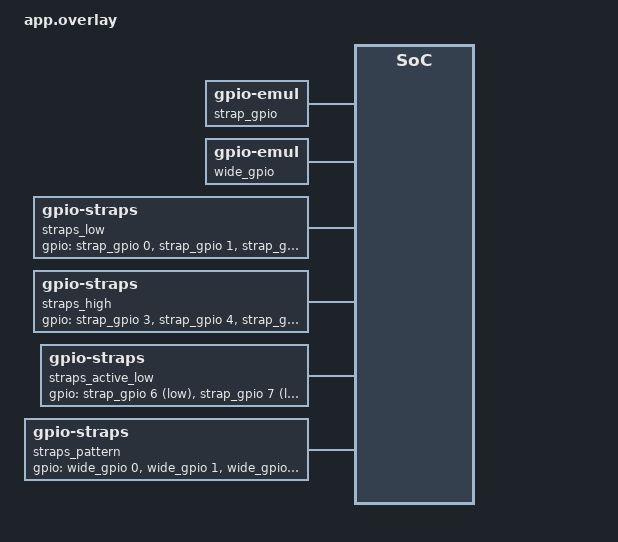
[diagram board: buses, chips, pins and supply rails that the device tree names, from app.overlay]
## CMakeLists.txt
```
# SPDX-License-Identifier: Apache-2.0

cmake_minimum_required(VERSION 3.20.0)
find_package(Zephyr REQUIRED HINTS $ENV{ZEPHYR_BASE})
project(otp_gpio_straps)

target_sources(app PRIVATE src/main.c)
```

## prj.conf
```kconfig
# SPDX-License-Identifier: Apache-2.0

CONFIG_ZTEST=y
CONFIG_GPIO=y
CONFIG_GPIO_EMUL=y
CONFIG_OTP=y
CONFIG_OTP_PROGRAM=y
CONFIG_NVMEM=y
CONFIG_OTP_LOG_LEVEL_DBG=y
```

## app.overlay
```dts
/*
 * SPDX-License-Identifier: Apache-2.0
 * SPDX-FileCopyrightText: Copyright The Zephyr Project Contributors
 */

#include <zephyr/dt-bindings/gpio/gpio.h>

/ {
	strap_gpio: strap-gpio-emul {
		compatible = "zephyr,gpio-emul";
		gpio-controller;
		#gpio-cells = <2>;
		ngpios = <32>;
		status = "okay";
	};

	wide_gpio: wide-gpio-emul {
		compatible = "zephyr,gpio-emul";
		gpio-controller;
		#gpio-cells = <2>;
		ngpios = <32>;
		status = "okay";
	};

	/* Three straps, no bias: every pin reads low. */
	straps_low: straps-low {
		compatible = "zephyr,gpio-straps";
		gpios = <&strap_gpio 0 GPIO_ACTIVE_HIGH>,
			<&strap_gpio 1 GPIO_ACTIVE_HIGH>,
			<&strap_gpio 2 GPIO_ACTIVE_HIGH>;
	};

	/* Three straps pulled up: value 0x07. */
	straps_high: straps-high {
		compatible = "zephyr,gpio-straps";
		gpios = <&strap_gpio 3 (GPIO_ACTIVE_HIGH | GPIO_PULL_UP)>,
			<&strap_gpio 4 (GPIO_ACTIVE_HIGH | GPIO_PULL_UP)>,
			<&strap_gpio 5 (GPIO_ACTIVE_HIGH | GPIO_PULL_UP)>;
	};

	/* Active low: a pulled-up strap reads 0 and an unbiased one reads 1. */
	straps_active_low: straps-active-low {
		compatible = "zephyr,gpio-straps";
		gpios = <&strap_gpio 6 (GPIO_ACTIVE_LOW | GPIO_PULL_UP)>,
			<&strap_gpio 7 GPIO_ACTIVE_LOW>;
	};

	/*
	 * 16 straps, only the first and last pulled up: this pins the packing
	 * order, bit 0 in byte 0 and bit 15 in byte 1.
	 */
	straps_pattern: straps-pattern {
		compatible = "zephyr,gpio-straps";
		gpios = <&wide_gpio 0 (GPIO_ACTIVE_HIGH | GPIO_PULL_UP)>,
			<&wide_gpio 1 GPIO_ACTIVE_HIGH>,
			<&wide_gpio 2 GPIO_ACTIVE_HIGH>,
			<&wide_gpio 3 GPIO_ACTIVE_HIGH>,
			<&wide_gpio 4 GPIO_ACTIVE_HIGH>,
			<&wide_gpio 5 GPIO_ACTIVE_HIGH>,
			<&wide_gpio 6 GPIO_ACTIVE_HIGH>,
			<&wide_gpio 7 GPIO_ACTIVE_HIGH>,
			<&wide_gpio 8 GPIO_ACTIVE_HIGH>,
			<&wide_gpio 9 GPIO_ACTIVE_HIGH>,
			<&wide_gpio 10 GPIO_ACTIVE_HIGH>,
			<&wide_gpio 11 GPIO_ACTIVE_HIGH>,
			<&wide_gpio 12 GPIO_ACTIVE_HIGH>,
			<&wide_gpio 13 GPIO_ACTIVE_HIGH>,
			<&wide_gpio 14 GPIO_ACTIVE_HIGH>,
			<&wide_gpio 15 (GPIO_ACTIVE_HIGH | GPIO_PULL_UP)>;
	};

	nvmem_consumer: nvmem-consumer {
		compatible = "vnd,nvmem-consumer";
		nvmem-cells = <&revision_cell>;
		nvmem-cell-names = "revision";
	};
};

&straps_high {
	nvmem-layout {
		compatible = "fixed-layout";
		#address-cells = <1>;
		#size-cells = <1>;

		revision_cell: revision@0 {
			reg = <0x0 0x1>;
			read-only;
			#nvmem-cell-cells = <0>;
		};
	};
};
```

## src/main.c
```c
/*
 * SPDX-License-Identifier: Apache-2.0
 * SPDX-FileCopyrightText: Copyright The Zephyr Project Contributors
 */

#include <zephyr/device.h>
#include <zephyr/devicetree.h>
#include <zephyr/drivers/gpio.h>
#include <zephyr/drivers/gpio/gpio_emul.h>
#include <zephyr/drivers/otp.h>
#include <zephyr/nvmem.h>
#include <zephyr/ztest.h>

static const struct device *const straps_low = DEVICE_DT_GET(DT_NODELABEL(straps_low));
static const struct device *const straps_high = DEVICE_DT_GET(DT_NODELABEL(straps_high));
static const struct device *const straps_active_low =
	DEVICE_DT_GET(DT_NODELABEL(straps_active_low));
static const struct device *const straps_pattern = DEVICE_DT_GET(DT_NODELABEL(straps_pattern));
static const struct device *const wide_gpio = DEVICE_DT_GET(DT_NODELABEL(wide_gpio));

static const struct nvmem_cell revision =
	NVMEM_CELL_GET_BY_NAME(DT_NODELABEL(nvmem_consumer), revision);

ZTEST(otp_gpio_straps, test_ready)
{
	zassert_true(device_is_ready(straps_low));
	zassert_true(device_is_ready(straps_high));
	zassert_true(device_is_ready(straps_active_low));
	zassert_true(device_is_ready(straps_pattern));
}

ZTEST(otp_gpio_straps, test_unbiased_straps_read_zero)
{
	uint8_t buf = 0xFFU;

	zassert_ok(otp_read(straps_low, 0, &buf, sizeof(buf)));
	zassert_equal(buf, 0x00U, "expected 0x00, got 0x%02x", buf);
}

ZTEST(otp_gpio_straps, test_pulled_up_straps_read_one)
{
	uint8_t buf = 0x00U;

	zassert_ok(otp_read(straps_high, 0, &buf, sizeof(buf)));
	zassert_equal(buf, 0x07U, "expected 0x07, got 0x%02x", buf);
}

/* Strap 0 is pulled up and strap 1 is not, so active low inverts both. */
ZTEST(otp_gpio_straps, test_active_low_inverts_the_pin)
{
	uint8_t buf = 0xFFU;

	zassert_ok(otp_read(straps_active_low, 0, &buf, sizeof(buf)));
	zassert_equal(buf, 0x02U, "expected 0x02, got 0x%02x", buf);
}

/* Bit N comes from strap N, packed least significant bit first, byte 0 first. */
ZTEST(otp_gpio_straps, test_bit_and_byte_packing)
{
	uint8_t buf[2] = {0};

	zassert_ok(otp_read(straps_pattern, 0, buf, sizeof(buf)));
	zassert_equal(buf[0], 0x01U, "byte 0: expected 0x01, got 0x%02x", buf[0]);
	zassert_equal(buf[1], 0x80U, "byte 1: expected 0x80, got 0x%02x", buf[1]);
}

ZTEST(otp_gpio_straps, test_read_at_offset)
{
	uint8_t buf = 0x00U;

	zassert_ok(otp_read(straps_pattern, 1, &buf, sizeof(buf)));
	zassert_equal(buf, 0x80U, "expected 0x80, got 0x%02x", buf);
}

ZTEST(otp_gpio_straps, test_read_of_zero_length_is_a_no_op)
{
	uint8_t buf = 0xA5U;

	zassert_ok(otp_read(straps_pattern, 2, &buf, 0));
	zassert_equal(buf, 0xA5U, "the buffer was touched: 0x%02x", buf);
}

ZTEST(otp_gpio_straps, test_read_past_the_end_is_rejected)
{
	uint8_t buf[2] = {0};

	/* Two bytes wide: one byte read from offset 1 is the last legal read. */
	zassert_ok(otp_read(straps_pattern, 1, buf, 1));
	zassert_equal(otp_read(straps_pattern, 1, buf, 2), -EINVAL);
	zassert_equal(otp_read(straps_pattern, 2, buf, 1), -EINVAL);
	zassert_equal(otp_read(straps_pattern, 0, buf, 3), -EINVAL);
}

ZTEST(otp_gpio_straps, test_negative_offset_is_rejected)
{
	uint8_t buf = 0;

	zassert_equal(otp_read(straps_pattern, -1, &buf, sizeof(buf)), -EINVAL);
}

ZTEST(otp_gpio_straps, test_straps_are_released_after_sampling)
{
	gpio_flags_t flags = GPIO_INPUT;
	uint8_t buf[2] = {0};

	/* One sample is taken, so no strap is left biased against its resistor. */
	zassert_ok(gpio_emul_flags_get(wide_gpio, 0, &flags));
	zassert_equal(flags, GPIO_DISCONNECTED, "strap left configured: 0x%x", flags);

	/* The bit captured before release is still returned by later reads. */
	zassert_ok(otp_read(straps_pattern, 0, buf, sizeof(buf)));
	zassert_equal(buf[0], 0x01U, "byte 0: expected 0x01, got 0x%02x", buf[0]);
	zassert_equal(buf[1], 0x80U, "byte 1: expected 0x80, got 0x%02x", buf[1]);
}

ZTEST(otp_gpio_straps, test_straps_cannot_be_programmed)
{
	const uint8_t buf = 0x01U;

	zassert_equal(otp_program(straps_high, 0, &buf, sizeof(buf)), -ENOSYS);
}

/* The driver names nothing: a board names its fields with nvmem cells. */
ZTEST(otp_gpio_straps, test_nvmem_cell_over_the_straps)
{
	uint8_t buf = 0x00U;

	zassert_ok(nvmem_cell_read(&revision, &buf, 0, sizeof(buf)));
	zassert_equal(buf, 0x07U, "expected 0x07, got 0x%02x", buf);
}

ZTEST_SUITE(otp_gpio_straps, NULL, NULL, NULL, NULL, NULL);
```
